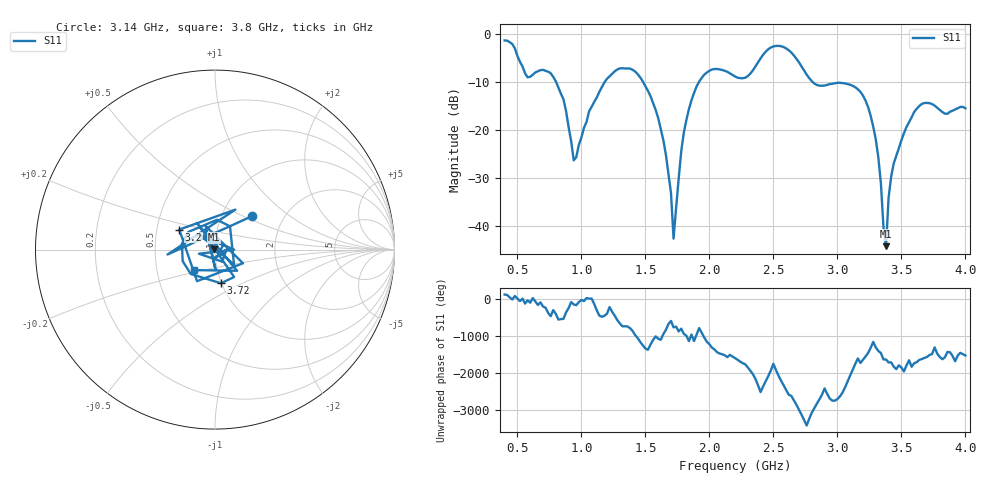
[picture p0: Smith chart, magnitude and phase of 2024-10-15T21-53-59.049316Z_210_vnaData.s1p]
! Created with skrf (http://scikit-rf.org).
# Hz S RI R 50.0
!freq ReS11 ImS11
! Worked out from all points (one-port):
!   181 points, 400 MHz to 4 GHz, reference 50 ohm
!   lowest |S11| = -44.3 dB at 3.38 GHz (marker M1), VSWR 1.01, Z = 49.4 + j0.23 ohm
!   |S11| at or under -10 dB: 802.7 MHz to 1.181 GHz (378.8 MHz wide, 38.2 % of centre); 1.483 GHz to 1.918 GHz (435.2 MHz wide, 25.6 % of centre); 2.808 GHz to end of sweep
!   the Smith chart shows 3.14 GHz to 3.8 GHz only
!   S11 on the Smith chart (normalised r, x): 3.14 GHz: 1.39, +0.56; 3.2 GHz: 0.65, +0.15; 3.72 GHz: 0.99, -0.39; 3.8 GHz: 0.78, -0.18
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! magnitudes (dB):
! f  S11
! 400 MHz  -1.3
! 580 MHz  -9.0
! 860 MHz  -13.6
! 940 MHz  -26.4
! 1.06 GHz  -16.1
! 1.3 GHz  -7.1
! 1.44 GHz  -8.4
! 1.58 GHz  -15.8
! 1.66 GHz  -25.2
! 1.7 GHz  -33.2
! 1.72 GHz  -42.7
! 1.76 GHz  -30.2
! 1.82 GHz  -17.9
! 1.92 GHz  -9.9
! 2.2 GHz  -8.8
! 2.5 GHz  -2.5
! 2.66 GHz  -4.4
! 2.84 GHz  -10.6
! 3.1 GHz  -10.6
! 3.14 GHz  -11.1
! 3.2 GHz  -12.8
! 3.3 GHz  -22.0
! 3.38 GHz  -44.3
! 3.42 GHz  -29.8
! 3.56 GHz  -18.4
! 3.72 GHz  -14.4
! 3.8 GHz  -15.8
! 4 GHz  -15.5
